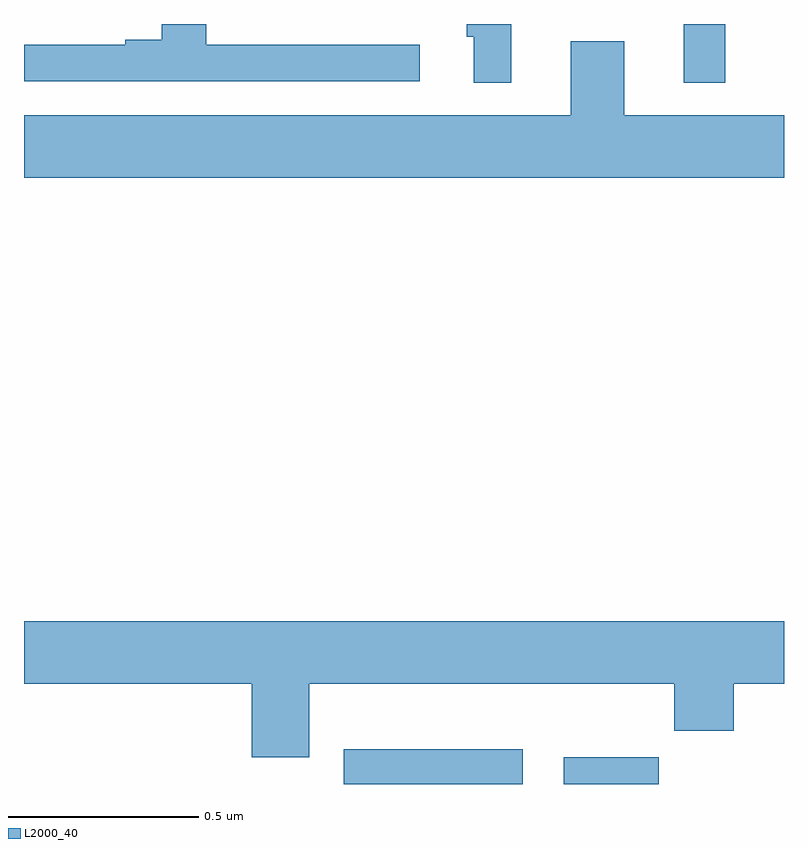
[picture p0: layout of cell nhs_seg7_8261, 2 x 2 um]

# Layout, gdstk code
import gdstk
lib = gdstk.Library(unit=1e-6, precision=1e-09)
def R(c, l, rs):  # rectangles x0, y0, x1, y1
    for r in rs: c.add(gdstk.rectangle(r[:2], r[2:], *l))
def P(c, l, *ps):  # polygons
    for p in ps: c.add(gdstk.Polygon(p, *l))
L2000_40 = (2000, 40)

nhs_seg7_8261 = lib.new_cell('nhs_seg7_8261')
R(nhs_seg7_8261, L2000_40, [(222.842,1019,223.312,1019.092), (223.421,1019,223.67,1019.071), (223.736,1020.845,223.846,1021)])
P(nhs_seg7_8261, L2000_40, [(223.282,1021),(223.165,1021),(223.165,1020.966),(223.184,1020.966),(223.184,1020.845),(223.282,1020.845)],
  [(223.042,1020.946),(222.479,1020.946),(222.479,1021),(222.362,1021),(222.362,1020.958),(222.266,1020.958),(222.266,1020.945),(222,1020.945),(222,1020.849),(223.042,1020.849)],
  [(224,1020.76),(223.579,1020.76),(223.579,1020.955),(223.439,1020.955),(223.439,1020.76),(222,1020.76),(222,1020.596),(224,1020.596)],
  [(222.751,1019.264),(223.711,1019.264),(223.711,1019.14),(223.868,1019.14),(223.868,1019.264),(224,1019.264),(224,1019.428),(222,1019.428),(222,1019.264),(222.599,1019.264),(222.599,1019.07),(222.751,1019.07)])

lib.write_gds('nhs_seg7_8261.gds')
